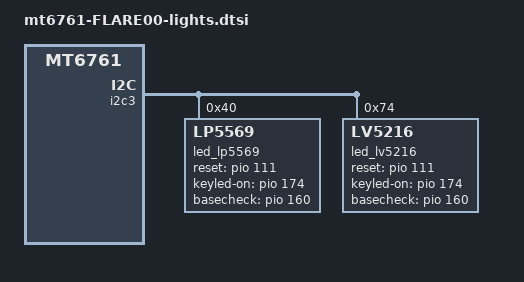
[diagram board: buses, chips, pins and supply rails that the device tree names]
/*
 * This software is contributed or developed by KYOCERA Corporation.
 * (C) 2022 KYOCERA Corporation
 *
 * This program is free software; you can redistribute it and/or modify
 * it under the terms of the GNU General Public License version 2 and
 * only version 2 as published by the Free Software Foundation.
 *
 * This program is distributed in the hope that it will be useful,
 * but WITHOUT ANY WARRANTY; without even the implied warranty of
 * MERCHANTABILITY or FITNESS FOR A PARTICULAR PURPOSE.  See the
 * GNU General Public License for more details.
 */

&pio {
	dev_check_pd: dev_check_pd {
		pins_cmd_dat {
			pinmux = <PINMUX_GPIO160__FUNC_GPIO160>;
			slew-rate = <0>;
			input-enable;
			bias-pull-down; /*pull down*/
		};
	};
	dev_check_np: dev_check_np {
		pins_cmd_dat {
			pinmux = <PINMUX_GPIO160__FUNC_GPIO160>;
			slew-rate = <0>;
            input-enable;
			bias-disable; /*non pull*/
		};
	};

};

&i2c3 {
	led_lp5569: led_lp5569@40 {
		compatible = "LP5569";
		reg = <0x40>;
		status = "okay";

			kc,reset-gpio = <&pio 111 0x00>;
//			kc,keyled-gpio = <&pio 86 0x00>;
//			kc,subled-gpio = <&pio 164 0x00>;
			kc,keyled-on-gpio = <&pio 174 0x00>;
            kc,basecheck-gpio = <&pio 160 0x00>;

			pinctrl-names = "dev_check_pd","dev_check_np";
			pinctrl-0 = <&dev_check_pd>;
			pinctrl-1 = <&dev_check_np>;

			kclight_reg_poweron_seq = [
				2F 7D 7D
				00 40 40
				0A 20 20
				0B 20 20
				0C 20 20
				0D 20 20
				0E 20 20
				0F 20 20
				19 FF FF
				1A FF FF
				1B FF FF
				1C FF FF
				1D FF FF
				1E FF FF
				22 60 FF
				23 24 FF
				24 30 FF
				2F 7D 7D
				33 02 1F
			];

			kclight_reg_pattern_seq = [
				/* LED0-2 Add:16-18h Data:00h(PWM_00) */
				16 00 FF  //[0]
				17 00 FF  //[1]
				18 00 FF  //[2]

				/* LED0_B Add:22h Data:42h(6.6mA) */
				22 42 FF  //[3]
				/* LED1_G Add:23h Data:12h(1.8mA) */
				23 12 FF  //[4]
				/* LED2_R Add:24h Data:1Eh(3.2mA) */
				24 1E FF  //[5]

				02 00 FF  //[6]
				02 54 FF  //[7]

				/* Add:4Fh Data:00h(page00) */
				4F 00 FF  //[8]
				50 00 FF  //[9]
				51 04 FF  //[10]
				52 00 FF  //[11]
				53 05 FF  //[12]->[BLINK_COLOR_ARRAY_POS] RGB
				54 40 FF  //[13]
				55 00 FF  //[14]
				56 9F FF  //[15]
				57 80 FF  //[16]
				58 E1 FF  //[17]
				59 00 FF  //[18]
				5A 40 FF  //[19]
				5B 00 FF  //[20]
				5C 42 FF  //[21]
				5D 00 FF  //[22]
				5E 40 FF  //[23]
				5F 00 FF  //[24]->[BLINK_COLOR_PWM_ARRAY_POS] RGB
				60 4C FF  //[25]
				61 00 FF  //[26]
				62 40 FF  //[27]
				63 00 FF  //[28]
				64 40 FF  //[29]
				65 FF FF  //[30]
				66 A0 FF  //[31]
				67 02 FF  //[32]
				68 C0 FF  //[33]
				69 00 FF  //[34]
				6A 40 FF  //[35]
				6B 00 FF  //[36]
				6C 9F FF  //[37]
				6D 81 FF  //[38]
				6E E0 FF  //[39]
				6F 02 FF  //[40]

				 /* Add:4Fh Data:01h(page01) */
				 4F 01 FF  //[41]
				 50 40 FF  //[42]
				 51 FF FF  //[43]
				 52 4E FF  //[44]
				 53 00 FF  //[45]
				 54 40 FF  //[46]
				 55 00 FF  //[47]
				 56 7E FF  //[48]
				 57 00 FF  //[49]
				 58 7E FF  //[50]
				 59 00 FF  //[51]
				 5A 7E FF  //[52]
				 5B 00 FF  //[53]
				 5C 7A FF  //[54]
				 5D 00 FF  //[55]
				 5E A0 FF  //[56]
				 5F 02 FF  //[57]
				 60 C0 FF  //[58]
				 61 00 FF  //[59]
				 62 C0 FF  //[60]
				 63 00 FF  //[61]
				 64 00 FF  //[62]
				 65 00 FF  //[63]
				 66 00 FF  //[64]
				 67 00 FF  //[65]
				 68 00 FF  //[66]
				 69 00 FF  //[67]
				 6A 00 FF  //[68]
				 6B 00 FF  //[69]
				 6C 00 FF  //[70]
				 6D 00 FF  //[71]
				 6E 00 FF  //[72]
				 6F 00 FF  //[73]

				 /* Add:02h Data:00h(Disable) */
				 02 00 FF  //[74]

				 /* Add:4Bh Data:03h(engine1start_register) */
				 4B 02 FF  //[75]

				 /* Add:4Ch Data:10h(engine1start_register)*/
				 4C 0D FF  //[76]

				 /* Add:4Dh Data:1Ah(engine1start_register) */
				 4D 19 FF  //[77]
			];

			kclight_reg_setpattern1_seq = [
				16 00 FF
				02 20 FF
				01 20 FF
			];

			kclight_reg_setpattern2_seq = [
				18 00 FF
				02 A0 FF
				01 A0 FF
			];

			kclight_reg_setpatternoff_seq = [
				16 00 FF
				02 00 FF
				01 00 FF
			];

			rgb_blink_pwm_table = [00 00 00 00 00 C8 FF AA];

			mled_bl_level_reg = [
				 00 04 04 04 04 04 04 04 0A 0A  //10
				 0A 0A 0C 0C 0C 0C 0E 0E 0E 10  //20
				 10 10 10 12 12 12 12 14 14 14  //30
				 14 16 16 16 18 18 18 18 1A 1A  //40
				 1A 1A 1C 1C 1C 1C 1E 1E 1E 20  //50
				 20 20 20 22 22 22 22 24 24 24  //60
				 24 26 26 26 26 28 28 28 28 2A  //70
				 2A 2A 2A 2C 2C 2C 2C 2E 2E 2E  //80
				 2E 30 30 30 30 32 32 32 32 34  //90
				 34 34 36 36 36 36 38 38 38 3A  //100
				 3A 3A 3A 3C 3C 3C 3E 3E 3E 3E  //110
				 40 40 40 42 42 42 42 44 44 44  //120
				 46 46 46 46 48 48 48 4A 4A 4A  //130
				 4A 4C 4C 4C 4E 4E 4E 4E 50 50  //140
				 50 52 52 52 52 54 54 54 56 56  //150
				 56 56 58 58 58 5A 5A 5A 5A 5C  //160
				 5C 5C 5E 5E 5E 5E 60 60 60 60  //170
				 62 62 62 64 64 64 66 66 66 68  //180
				 68 68 6A 6A 6A 6C 6C 6C 6E 6E  //190
				 6E 70 70 70 72 72 72 74 74 74  //200
				 76 76 76 78 78 78 7A 7A 7A 7C  //210
				 7C 7C 7C 7E 7E 80 80 80 82 82  //220
				 82 84 84 84 86 86 86 88 88 88  //230
				 8A 8A 8A 8C 8C 8C 8E 8E 8E 90  //240
				 90 90 92 92 92 94 94 94 96 96  //250
				 96 98 AA B4 BE C8              //256
			];

			mled_bl_level_seq = [
				25  AF  FF
				2A  AF  FF
				26  AF  FF
				29  AF  FF
				27  AF  FF
				28  AF  FF
			];

			rgb_current_setting = [
			   /* reg16 reg17 reg18 reg22 reg23 reg24 */
				00 00 00 00 00 00  // OFF
				00 00 FF 00 00 24  // R
				00 FF 00 00 12 00  // G
				FF 00 00 42 00 00  // B
				00 FF FF 00 0C 24  // R + G
				FF FF 00 24 0C 00  // G + B
				FF 00 FF 12 00 24  // R + B
				FF FF FF 18 12 18  // R + G + B

				00 00 00 00 00 00  // OFF
				00 00 FF 00 00 24  // R
				00 FF 00 00 12 00  // G
				FF 00 00 42 00 00  // B
				00 FF FF 00 0C 24  // R + G
				FF FF 00 24 0C 00  // G + B
				FF 00 FF 12 00 24  // R + B
				FF FF FF 18 12 18  // R + G + B

				00 00 00 00 00 00  // OFF
				00 00 FF 00 00 24  // R
				00 FF 00 00 12 00  // G
				FF 00 00 42 00 00  // B
				00 FF FF 00 0C 24  // R + G
				FF FF 00 24 0C 00  // G + B
				FF 00 FF 12 00 24  // R + B
				FF FF FF 18 12 18  // R + G + B

				00 00 00 00 00 00  // OFF
				00 00 FF 00 00 24  // R
				00 FF 00 00 12 00  // G
				FF 00 00 42 00 00  // B
				00 FF FF 00 0C 24  // R + G
				FF FF 00 24 0C 00  // G + B
				FF 00 FF 12 00 24  // R + B
				FF FF FF 18 12 18  // R + G + B

				00 00 00 00 00 00  // OFF
				00 00 FF 00 00 24  // R
				00 FF 00 00 12 00  // G
				FF 00 00 42 00 00  // B
				00 FF FF 00 0C 24  // R + G
				FF FF 00 24 0C 00  // G + B
				FF 00 FF 12 00 24  // R + B
				FF FF FF 18 12 18  // R + G + B
			];

			lcd_backlight {
				label = "mled";
				linux,name = "lcd-backlight";
			};
			rgb {
				label = "rgb";
				linux,name = "ledinfo";
			};
			button-backlight {
				label = "keyled";
				linux,name = "button-backlight";
			};
//			sub-lcd-backlight {
//				label = "sled";
//				linux,name = "subbacklightinfo";
//			};
	};


	led_lv5216: led_lv5216@74 {
		compatible = "LV5216";
		reg = <0x74>;
		status = "okay";

			kc,reset-gpio = <&pio 111 0x00>;
//			kc,keyled-gpio = <&pio 86 0x00>;
//			kc,subled-gpio = <&pio 164 0x00>;
			kc,keyled-on-gpio = <&pio 174 0x00>;
            kc,basecheck-gpio = <&pio 160 0x00>;

			pinctrl-names = "dev_check_pd","dev_check_np";
			pinctrl-0 = <&dev_check_pd>;
			pinctrl-1 = <&dev_check_np>;

			lv5216_reg_info_save = [
			// int, bool
				00 00	//00 false(0)
				00 00	//01 false(0)
				08 00	//02 false(0)
				48 00	//03 false(0)
				00 00	//04 false(0)
				00 00	//05 false(0)
				0A 00	//06 false(0)
				08 00	//07 false(0)
				0A 00	//08 false(0)
				9F 00	//09 false(0)
				02 00	//10 false(0)
				80 00	//11 false(0)
				00 00	//12 false(0)
				00 00	//13 false(0)
				00 00	//14 false(0)
				00 00	//15 false(0)
				00 00	//16 false(0)
				00 00	//17 false(0)
				00 00	//18 false(0)
				00 00	//19 false(0)
				07 00	//20 false(0)
			];

			mled_reg03_reg01_manual = [
				00 00	//0
				20 1D	//1
				20 1D	//2
				20 1D	//3
				20 1D	//4
				20 1D	//5
				20 1D	//6
				20 1D	//7
				20 1F	//8
				20 1F	//9
				20 1F	//10
				20 1F	//11
				40 1F	//12
				40 1F	//13
				40 1F	//14
				40 1F	//15
				60 1F	//16
				60 1F	//17
				60 1F	//18
				21 1F	//19
				21 1F	//20
				21 1F	//21
				21 1F	//22
				41 1F	//23
				41 1F	//24
				41 1F	//25
				41 1F	//26
				61 1F	//27
				61 1F	//28
				61 1F	//29
				61 1F	//30
				22 1F	//31
				22 1F	//32
				22 1F	//33
				42 1F	//34
				42 1F	//35
				42 1F	//36
				42 1F	//37
				62 1F	//38
				62 1F	//39
				62 1F	//40
				62 1F	//41
				23 1F	//42
				23 1F	//43
				23 1F	//44
				23 1F	//45
				43 1F	//46
				43 1F	//47
				43 1F	//48
				63 1F	//49
				63 1F	//50
				63 1F	//51
				63 1F	//52
				24 1F	//53
				24 1F	//54
				24 1F	//55
				24 1F	//56
				44 1F	//57
				44 1F	//58
				44 1F	//59
				44 1F	//60
				64 1F	//61
				64 1F	//62
				64 1F	//63
				64 1F	//64
				25 1F	//65
				25 1F	//66
				25 1F	//67
				25 1F	//68
				45 1F	//69
				45 1F	//70
				45 1F	//71
				45 1F	//72
				65 1F	//73
				65 1F	//74
				65 1F	//75
				65 1F	//76
				26 1F	//77
				26 1F	//78
				26 1F	//79
				26 1F	//80
				46 1F	//81
				46 1F	//82
				46 1F	//83
				46 1F	//84
				66 1F	//85
				66 1F	//86
				66 1F	//87
				66 1F	//88
				27 1F	//89
				27 1F	//90
				27 1F	//91
				47 1F	//92
				47 1F	//93
				47 1F	//94
				47 1F	//95
				67 1F	//96
				67 1F	//97
				67 1F	//98
				28 1F	//99
				28 1F	//100
				28 1F	//101
				28 1F	//102
				48 1F	//103
				48 1F	//104
				48 1F	//105
				68 1F	//106
				68 1F	//107
				68 1F	//108
				68 1F	//109
				29 1F	//110
				29 1F	//111
				29 1F	//112
				49 1F	//113
				49 1F	//114
				49 1F	//115
				49 1F	//116
				69 1F	//117
				69 1F	//118
				69 1F	//119
				2A 1F	//120
				2A 1F	//121
				2A 1F	//122
				2A 1F	//123
				4A 1F	//124
				4A 1F	//125
				4A 1F	//126
				6A 1F	//127
				6A 1F	//128
				6A 1F	//129
				6A 1F	//130
				2B 1F	//131
				2B 1F	//132
				2B 1F	//133
				4B 1F	//134
				4B 1F	//135
				4B 1F	//136
				4B 1F	//137
				6B 1F	//138
				6B 1F	//139
				6B 1F	//140
				2C 1F	//141
				2C 1F	//142
				2C 1F	//143
				2C 1F	//144
				4C 1F	//145
				4C 1F	//146
				4C 1F	//147
				6C 1F	//148
				6C 1F	//149
				6C 1F	//150
				6C 1F	//151
				2D 1F	//152
				2D 1F	//153
				2D 1F	//154
				4D 1F	//155
				4D 1F	//156
				4D 1F	//157
				4D 1F	//158
				6D 1F	//159
				6D 1F	//160
				6D 1F	//161
				2E 1F	//162
				2E 1F	//163
				2E 1F	//164
				2E 1F	//165
				4E 1F	//166
				4E 1F	//167
				4E 1F	//168
				4E 1F	//169
				6E 1F	//170
				6E 1F	//171
				6E 1F	//172
				2F 1F	//173
				2F 1F	//174
				2F 1F	//175
				4F 1F	//176
				4F 1F	//177
				4F 1F	//178
				6F 1F	//179
				6F 1F	//180
				6F 1F	//181
				30 1F	//182
				30 1F	//183
				30 1F	//184
				50 1F	//185
				50 1F	//186
				50 1F	//187
				70 1F	//188
				70 1F	//189
				70 1F	//190
				31 1F	//191
				31 1F	//192
				31 1F	//193
				51 1F	//194
				51 1F	//195
				51 1F	//196
				71 1F	//197
				71 1F	//198
				71 1F	//199
				32 1F	//200
				32 1F	//201
				32 1F	//202
				52 1F	//203
				52 1F	//204
				52 1F	//205
				72 1F	//206
				72 1F	//207
				72 1F	//208
				33 1F	//209
				33 1F	//210
				33 1F	//211
				53 1F	//212
				53 1F	//213
				53 1F	//214
				73 1F	//215
				73 1F	//216
				73 1F	//217
				34 1F	//218
				34 1F	//219
				34 1F	//220
				54 1F	//221
				54 1F	//222
				54 1F	//223
				74 1F	//224
				74 1F	//225
				74 1F	//226
				35 1F	//227
				35 1F	//228
				35 1F	//229
				55 1F	//230
				55 1F	//231
				55 1F	//232
				75 1F	//233
				75 1F	//234
				75 1F	//235
				36 1F	//236
				36 1F	//237
				36 1F	//238
				56 1F	//239
				56 1F	//240
				56 1F	//241
				76 1F	//242
				76 1F	//243
				76 1F	//244
				37 1F	//245
				37 1F	//246
				37 1F	//247
				57 1F	//248
				57 1F	//249
				57 1F	//250
				77 1F	//251
				7A 1F	//252
				5C 1F	//253
				3E 1F	//254
				7F 1F	//255
			];

			rgb_current_setting = [
				00 00 0A // B
				04 00 00 // R
				00 02 00 // G
				07 00 01 // R + B
				00 01 05 // B + G
				05 01 00 // R + G
				03 02 03 // R + B + G

				00 00 0A // B
				04 00 00 // R
				00 02 00 // G
				07 00 01 // R + B
				00 01 05 // B + G
				05 01 00 // R + G
				03 02 03 // R + B + G

				00 00 0A // B
				04 00 00 // R
				00 02 00 // G
				07 00 01 // R + B
				00 01 05 // B + G
				05 01 00 // R + G
				03 02 03 // R + B + G

				00 00 0A // B
				04 00 00 // R
				00 02 00 // G
				07 00 01 // R + B
				00 01 05 // B + G
				05 01 00 // R + G
				03 02 03 // R + B + G

				00 00 0A // B
				04 00 00 // R
				00 02 00 // G
				07 00 01 // R + B
				00 01 05 // B + G
				05 01 00 // R + G
				03 02 03 // R + B + G
			];

			lcd_backlight {
				label = "mled";
				linux,name = "lcd-backlight";
			};
			rgb {
				label = "rgb";
				linux,name = "ledinfo";
			};
			button-backlight {
				label = "keyled";
				linux,name = "button-backlight";
			};
//			sub-lcd-backlight {
//				label = "sled";
//				linux,name = "subbacklightinfo";
//			};
	};

};

